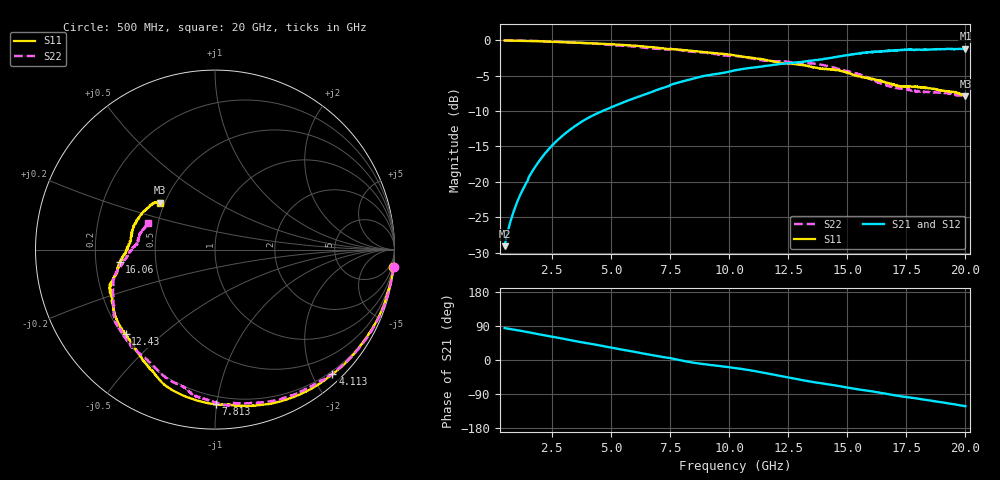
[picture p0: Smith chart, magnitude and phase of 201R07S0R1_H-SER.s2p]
!{201R07S0R1}
!Johanson Technology Inc.
!www.johansontechnology.com
!Test Board Conditions:
!Substrate Type  RO4350B
!Substrate Thickness  10 mil
!Substrate Dk  3.66
!TL Type: GCPW
!TL Trace Width  21 mil
!TL Gap  20 mil
!Electrode orientation  Horizontal
!DUT TOPOLOGY	SERIES
!Mounting Pad LxW  16x21 mil
# mhz S ma R 50
!Agilent Technologies,N5230A,MY45001966,A.07.50.67
!Agilent N5230A: A.07.50.67
! Created Thu Mar  5 16:51:37 2020
! 2 Port Network Data from SP1.SP block
! freq  magS11  angS11  magS21  angS21  magS12  angS12  magS22  angS22
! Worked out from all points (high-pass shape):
!   19501 points, 500 MHz to 20 GHz, reference 50 ohm
!   highest |S21| = -1.17 dB at 20 GHz (marker M1); lowest = -29.1 dB at 500 MHz (marker M2)
!   |S21| within 3 dB of the highest: 10.35 GHz to end of sweep
!   lowest |S11| = -7.9 dB at 20 GHz (marker M3), VSWR 2.36, Z = 23.5 + j14.7 ohm
!   |S11| at or under -10 dB: nowhere
!   |S22| runs from -7.9 to 0.0 dB; largest |S21 - S12| = 0.026
!   S11 on the Smith chart (normalised r, x): 500 MHz: 0, -21; 4.113 GHz: 0.15, -2.31; 7.813 GHz: 0.15, -0.99; 12.43 GHz: 0.22, -0.38; 16.06 GHz: 0.30, -0.06; 20 GHz: 0.47, +0.29
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500  0.9989 -5.5  0.03509 84.3  0.03521 84.4  0.9994 -5.5
997  0.9954 -10.8  0.06964 78.9  0.06982 78.8  0.9974 -10.7
1686  0.9895 -18.7  0.1198 71.1  0.1202 71.1  0.9926 -18.5
2597  0.9774 -29.1  0.1871 60.5  0.1871 60.5  0.9813 -28.5
3750  0.9609 -42.9  0.2655 46.9  0.2656 46.9  0.9595 -41.6
4113  0.9547 -46.7  0.2875 43.0  0.2874 43.0  0.952 -45.5
5637  0.9269 -63.8  0.3708 25.5  0.3712 25.5  0.9148 -63.8
7000  0.8872 -79.4  0.4497 9.8  0.4497 10.0  0.8709 -80.0
7813  0.862 -89.7  0.5014 0.9  0.506 0.9  0.8597 -88.3
8455  0.8426 -98.3  0.5364 -6.7  0.5375 -6.5  0.8323 -94.8
9018  0.8245 -104.8  0.5641 -11.7  0.5647 -11.9  0.8188 -98.4
10250  0.7839 -113.7  0.6155 -21.2  0.6154 -21.3  0.7764 -107.6
11337  0.7378 -122.4  0.652 -32.3  0.6572 -32.3  0.7248 -120.4
12427  0.6854 -136.5  0.687 -45.0  0.6862 -46.2  0.7078 -133.4
13500  0.6504 -150.8  0.721 -57.4  0.711 -57.5  0.6879 -143.3
14383  0.6244 -160.2  0.7558 -66.1  0.7536 -66.3  0.6459 -150.8
15238  0.5716 -165.6  0.7961 -75.1  0.7855 -74.5  0.5941 -162.1
16061  0.5354 -172.6  0.8308 -83.0  0.8306 -83.2  0.5283 -171.0
16750  0.4979 -178.2  0.843 -90.4  0.8545 -89.4  0.4769 -178.3
17799  0.4715 165.4  0.8602 -100.3  0.8728 -100.1  0.4392 176.5
18781  0.452 151.8  0.8677 -109.6  0.8658 -109.9  0.4277 169.8
20000  0.4049 139.7  0.8744 -121.9  0.8719 -122.0  0.4023 158.7
